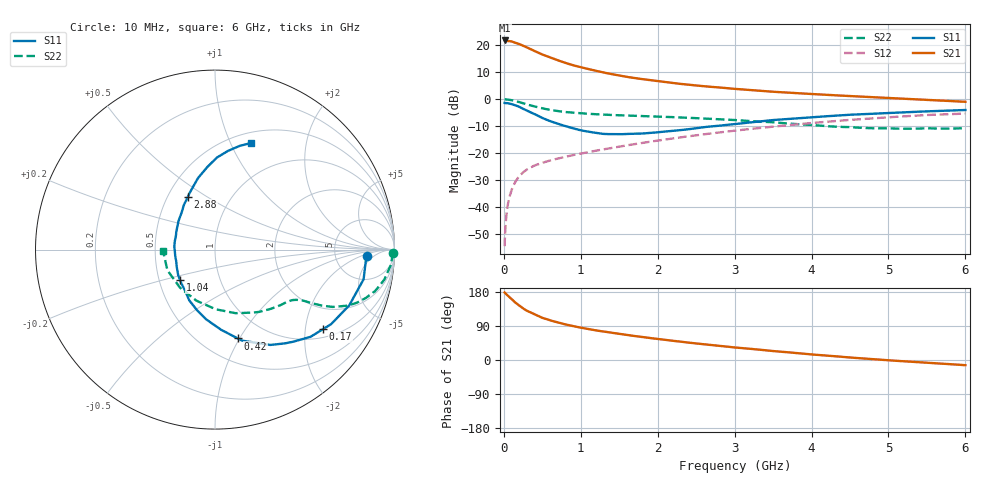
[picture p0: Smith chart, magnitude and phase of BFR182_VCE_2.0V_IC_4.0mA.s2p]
! Infineon Technologies  Discrete & RF Semiconductors
! BFR182
! VCE =  2.0 V,  IC =  4.0 mA
! Common Emitter S-Parameters:  Nov 2015
# GHz  S  MA  R  50
!  f  S11  S21  S12  S22
! GHz  MAG  ANG  MAG  ANG  MAG  ANG  MAG  ANG
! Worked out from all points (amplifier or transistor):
!   210 points, 10 MHz to 6 GHz, reference 50 ohm
!   highest |S21| = 21.7 dB at 10 MHz (marker M1)
!   |S21| within 3 dB of that: start of sweep to 331.1 MHz
!   unconditionally stable (mu >= 1): 1.165 GHz to 2.888 GHz
!   at 185 MHz: K = 0.29, MSG = 24.8 dB, |S12| = -29.1 dB
!   at 1.52 GHz: K = 1.06, MAG = 11.6 dB, |S12| = -17.5 dB
!   at 6 GHz: K = 0.89, MSG = 2.2 dB, |S12| = -5.3 dB
!   S11 on the Smith chart (normalised r, x): 10 MHz: 12, -3; 170 MHz: 1.24, -2.49; 420 MHz: 0.73, -0.98; 1.04 GHz: 0.64, -0.23; 2.88 GHz: 0.63, +0.42; 6 GHz: 0.61, +1.20
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0.01  0.8495 -2.4  12.15 178.1  0.0019 89.5  0.992 -1.0
0.04  0.8423 -9.0  11.93 172.1  0.0086 84.9  0.9845 -4.2
0.1  0.8099 -22.6  11.68 160.9  0.0206 78.7  0.9578 -10.1
0.15  0.7688 -32.7  11.02 151.3  0.0295 73.1  0.9209 -14.6
0.17  0.7471 -36.4  10.76 148.4  0.0327 71.2  0.9045 -15.9
0.2  0.7208 -42.4  10.42 143.7  0.0375 68.9  0.8808 -17.9
0.26  0.6523 -53.2  9.619 134.9  0.0452 64.8  0.8287 -21.4
0.3  0.614 -59.9  9.025 129.9  0.0498 63.0  0.7949 -23.2
0.42  0.5111 -75.6  7.521 118.7  0.0605 59.1  0.7175 -26.3
0.5  0.4482 -85.6  6.682 111.3  0.0661 57.7  0.6741 -27.6
0.6  0.3917 -97.2  5.901 104.6  0.0731 56.7  0.631 -28.6
0.7  0.3512 -106.8  5.232 98.9  0.0793 56.8  0.5999 -29.3
0.8  0.3167 -117.0  4.669 93.9  0.0853 56.8  0.5762 -29.8
1.02  0.2613 -137.3  3.824 84.6  0.0994 57.6  0.5443 -31.0
1.04  0.258 -139.2  3.765 83.9  0.1007 57.7  0.5418 -31.2
1.4  0.225 -169.8  2.895 71.9  0.1246 59.4  0.5079 -34.0
2.02  0.2447 149.5  2.125 55.0  0.1724 59.4  0.4742 -41.3
2.88  0.3309 117.1  1.602 35.7  0.2489 55.5  0.4189 -56.3
3.1  0.3569 111.8  1.508 31.4  0.27 53.8  0.4006 -61.3
4.1  0.4719 93.9  1.219 13.2  0.3707 44.2  0.3233 -93.1
5.1  0.562 81.3  1.03 -2.1  0.4701 31.8  0.2845 -137.2
6  0.6282 71.2  0.891 -13.7  0.5404 18.7  0.2904 -179.0
